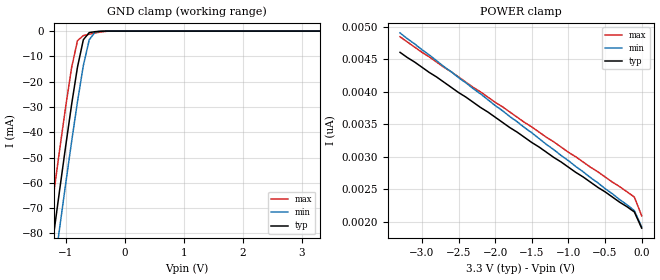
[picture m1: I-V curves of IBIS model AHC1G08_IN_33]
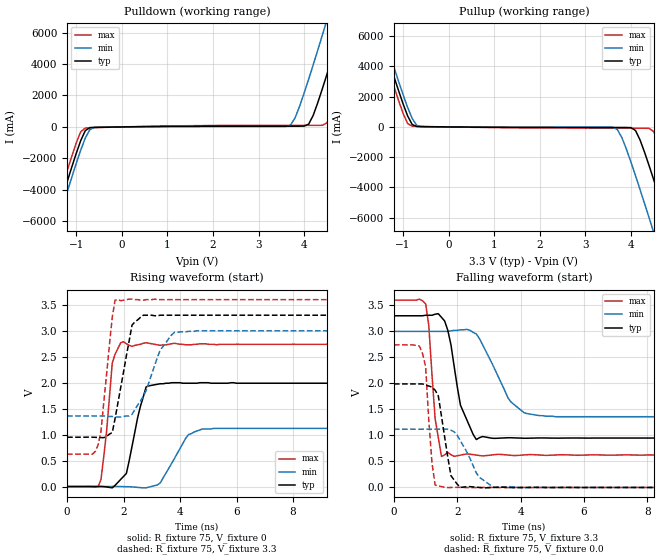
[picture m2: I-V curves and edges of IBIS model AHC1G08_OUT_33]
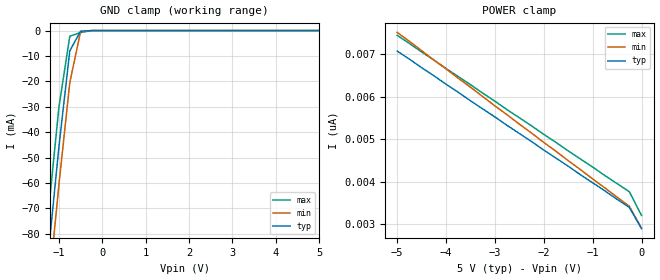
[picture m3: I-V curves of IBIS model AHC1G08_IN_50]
| TEXAS INSTRUMENTS INCORPORATED
| Standard Linear and Logic Group
| IBIS Model of SN74AHC1G08
| SINGLE 2-INPUT POSITIVE-AND GATE
| SOT 5-pin (DCK) and SOT 5-pin (DBV) Package
[IBIS Ver]   3.2
[Comment Char]  |_char
[File Name]   ahc1g08.ibs
[File Rev]   2.0 J_die
[Date]   May 24, 2000
[Source]   Data created from HSPICE simulations at TI-SLL.
[Notes]   The following is an IBIS list for the AHC1G08.
|   Please contact sllibis@ti.com with questions and
|   comments concerning SLL IBIS models.
[Disclaimer] Property of Texas Instruments Incorporated.  Unauthorized
                reproduction and/or distribution is strictly prohibited.
                This product is protected under copyright law.
                Created 2000, (C) Copyright 2000, Texas Instruments Inc.,
                All Rights Reserved.
                UNLESS THERE IS A SIGNED, WRITTEN AGREEMENT TO THE
                CONTRARY, TEXAS INSTRUMENTS () IS PROVIDING THE IBIS
                MODELS  AND WITHOUT ANY WARRANTY, EXPRESSED OR
                IMPLIED.  TI assumes no liability for:
                 1) the accuracy of the IBIS models provided to your
                    company;
                 2) the proper functioning of these IBIS Models in your
                    design or for any resulting applications; or
                 3) infringement of patents, copyrights or intellectual
                    property rights resulting from your use of these IBIS
                    models.
                TI provides IBIS Models as a service to our customers.
                You and your company shall not distribute, sell or give
                these models to anyone else without prior written
                permission from TI.
                TI reserves the right to make changes to our products or
                to discontinue any semiconductor product or service
                without notice, and advises our customers to obtain the
                latest version of relevant information to verify, before
                placing orders, that the information being relied on is
                current.
                Please be aware that your receipt and use of the IBIS
                information provided shall serve as acceptance of these
                terms and conditions.  If you do not accept these terms,
                you should return or destroy the IBIS models and any
                other accompanying information immediately.
|   Component AHC1G08_DCK
[Component]   AHC1G08_DCK
[Manufacturer]  Texas Instruments, Inc.
[Package]
|   typ   min   max
R_pkg   0.020   0.017   0.025
L_pkg   0.998nH   0.881nH   1.069nH
C_pkg   0.146pF   0.118pF   0.205pF
[Pin]   signal_name   model_name   R_pin   L_pin   C_pin
1   A   AHC1G08_IN   0.019   1.069nH   0.162pF
2   B   AHC1G08_IN   0.018   0.881nH   0.121pF
3   GND   GND   0.017   1.031nH   0.205pF
4   Y   AHC1G08_OUT   0.020   0.960nH   0.124pF
5   VCC   POWER   0.025   1.049nH   0.118pF
|   Component AHC1G08_DBV
[Component]   AHC1G08_DBV
[Manufacturer]  Texas Instruments, Inc.
[Package]
|   typ   min   max
R_pkg   0.025   0.021   0.029
L_pkg   1.529nH   1.312nH   1.906nH
C_pkg   0.156pF   0.110pF   0.240pF
[Pin]   signal_name   model_name   R_pin   L_pin   C_pin
1   A   AHC1G08_IN   0.021   1.511nH   0.144pF
2   B   AHC1G08_IN   0.023   1.312nH   0.138pF
3   GND   GND   0.029   1.906nH   0.240pF
4   Y   AHC1G08_OUT   0.026   1.541nH   0.150pF
5   VCC   POWER   0.025   1.374nH   0.110pF
[Model Selector]   AHC1G08_IN
AHC1G08_IN_33   3.3-V Vcc Input Model
AHC1G08_IN_50   5.0-V Vcc Input Model
[Model Selector]   AHC1G08_OUT
AHC1G08_OUT_33   3.3-V Vcc Output Model
AHC1G08_OUT_50   5.0-V Vcc Output Model
| Models and submodels in the file (4): AHC1G08_IN_33 (Input), AHC1G08_OUT_33 (Output), AHC1G08_IN_50 (Input), AHC1G08_OUT_50 (Output)
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|   Model AHC1G08_IN_33
[Model]   AHC1G08_IN_33
Model_type  Input
Polarity   Inverting
Vinl = 0.99
Vinh = 2.31
| variable   typ   min   max
C_comp   1.27pf   0.95pf   1.59pf
[Temperature Range]   25   85   -40
[Voltage Range]   3.3   3.0   3.6
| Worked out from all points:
|   GND clamp passes 1 mA (typ) near -0.61 V on its own axis
[GND Clamp]
|   Voltage   I(typ)   I(min)   I(max)
-3.3V     -460mA     -475mA     -445mA
-1.3V     -97.5mA    -113mA     -81.5mA
-1.2V     -79.9mA    -95mA      -63.9mA
-1.1V     -62.6mA    -77.6mA    -46.7mA
-1V       -45.6mA    -60.5mA    -30mA
-900mV    -29.2mA    -43.9mA    -14.6mA
-800mV    -14.3mA    -28mA      -3.81mA
-700mV    -3.42mA    -13.6mA    -1.78mA
-600mV    -581uA     -3.4mA     -1.25mA
-500mV    -233uA     -353uA     -759uA
-400mV    -58.1uA    -21.9uA    -324uA
3.3V      1.9nA      2.34nA     1.69nA
[POWER Clamp]
|   Voltage   I(typ)   I(min)   I(max)
-3.3V     4.61nA     4.91nA     4.85nA
-3V       4.38nA     4.65nA     4.61nA
-100mV    2.15nA     2.17nA     2.38nA
0V        1.9nA      1.92nA     2.09nA
|   Model AHC1G08_OUT_33
[Model]   AHC1G08_OUT_33
Model_type  Output
Polarity   Inverting
Vmeas = 1.65v
Cref = 15pf
| variable   typ   min   max
C_comp   3.12pf   2.34pf   3.90pf
[Temperature Range]   25   85   -40
[Voltage Range]   3.3   3.0   3.6
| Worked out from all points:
|   slope of the pulldown table from 0 to 0.495 V, typ, clamps not added: 26.1 ohm
|   slope of the pullup table from 0 to 0.495 V, typ, clamps not added: 40.3 ohm
|   rising waveform, R_fixture 75, V_fixture 0: 20-80 % time 464ps typ, 702ps min, 278ps max; typ from 0 V to 1.99 V
|   falling waveform, R_fixture 75, V_fixture 3.3: 20-80 % time 446ps typ, 783ps min, 217ps max; typ from 3.3 V to 0.95 V
|   rising waveform, R_fixture 75, V_fixture 3.3: 20-80 % time 470ps typ, 718ps min, 323ps max; typ from 0.95 V to 3.3 V
|   falling waveform, R_fixture 75, V_fixture 0.0: 20-80 % time 308ps typ, 566ps min, 179ps max; typ from 1.99 V to 0 V
[Pulldown]
|   Voltage   I(typ)   I(min)   I(max)
-3.3V     -24A       -24.6A     -23.4A
-1.6V     -7.31A     -7.95A     -6.63A
-1.5V     -6.34A     -6.99A     -5.66A
-1V       -1.69A     -2.33A     -1.02A
-800mV    -234mA     -703mA     -70.7mA
-600mV    -28.4mA    -27.3mA    -48.1mA
3.7V      47.1mA     113mA      100mA
4.1V      173mA      3.03A      101mA
4.4V      2.42A      5.83A      105mA
4.8V      6.17A      9.67A      2.68A
5.2V      10A        13.6A      6.5A
6.6V      23.8A      27.4A      20.3A
[Pullup]
|   Voltage   I(typ)   I(min)   I(max)
-3.3V     23.8A      24.4A      23.2A
-1.6V     7.13A      7.74A      6.5A
-1.5V     6.17A      6.78A      5.53A
-1V       1.53A      2.14A      903mA
-800mV    158mA      559mA      49mA
-600mV    19.5mA     16.8mA     33.4mA
3.7V      -35.9mA    -168mA     -78.9mA
4.1V      -236mA     -3.23A     -83.5mA
4.4V      -2.58A     -6.03A     -95.5mA
4.8V      -6.34A     -9.88A     -2.81A
5.2V      -10.2A     -13.8A     -6.63A
6.6V      -24A       -27.6A     -20.4A
[Ramp]
| variable   typ   min   max
dV/dt_r   1.20E+00/4.62E-10   6.92E-01/6.38E-10   1.65E+00/2.74E-10
dV/dt_f   1.44E+00/4.29E-10   1.01E+00/7.49E-10   1.87E+00/2.29E-10
R_load = 75
[Rising Waveform]
R_fixture = 75
V_fixture = 0
|   Time   V(typ)   V(min)   V(max)
0s        0V         0V         0V
1.2ns     950uV      243uV      135mV
1.4ns     -8.38mV    656uV      1.07V
1.6ns     -25.1mV    1.08mV     2.38V
2ns       195mV      -1.74mV    2.79V
2.8ns     1.92V      -24.1mV    2.77V
3.3ns     1.98V      70.8mV     2.72V
4.3ns     1.99V      1V         2.73V
4.8ns     2V         1.11V      2.75V
25ns      1.99V      1.12V      2.74V
[Falling Waveform]
R_fixture = 75
V_fixture = 3.3
V_fixture_min = 3.0
V_fixture_max = 3.6
|   Time   V(typ)   V(min)   V(max)
0s        3.3V       3V         3.6V
1ns       3.31V      3V         3.53V
1.1ns     3.31V      3V         3.11V
1.3ns     3.33V      3V         1.32V
1.5ns     3.27V      3V         597mV
2.1ns     1.58V      3.03V      622mV
2.6ns     921mV      2.95V      623mV
3.7ns     956mV      1.64V      618mV
4.6ns     952mV      1.38V      624mV
25ns      950mV      1.36V      624mV
[Rising Waveform]
R_fixture = 75
V_fixture = 3.3
V_fixture_min = 3.0
V_fixture_max = 3.6
|   Time   V(typ)   V(min)   V(max)
0s        950mV      1.36V      624mV
1.1ns     945mV      1.36V      805mV
1.2ns     943mV      1.36V      1.06V
1.6ns     1.04V      1.35V      3.26V
1.7ns     1.31V      1.34V      3.59V
2.3ns     3.11V      1.39V      3.61V
2.7ns     3.3V       1.74V      3.59V
3.3ns     3.3V       2.63V      3.6V
3.8ns     3.3V       2.97V      3.6V
25ns      3.3V       3V         3.6V
[Falling Waveform]
R_fixture = 75
V_fixture = 0.0
|   Time   V(typ)   V(min)   V(max)
0s        1.99V      1.12V      2.74V
900ps     1.99V      1.12V      2.58V
1ns       1.97V      1.12V      2.32V
1.2ns     1.93V      1.12V      477mV
1.3ns     1.87V      1.12V      47.1mV
1.6ns     972mV      1.12V      4.07mV
1.8ns     226mV      1.1V       -193uV
2ns       60.8mV     1V         3.06mV
3.2ns     1.71mV     3.36mV     294uV
25ns      0V         0V         0V
|   Model AHC1G08_IN_50
[Model]   AHC1G08_IN_50
Model_type  Input
Polarity   Inverting
Vinl = 1.5
Vinh = 3.5
| variable   typ   min   max
C_comp   1.27pf   0.95pf   1.59pf
[Temperature Range]   25   85   -40
[Voltage Range]   5.0   4.5   5.5
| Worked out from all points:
|   GND clamp passes 1 mA (typ) near -0.52 V on its own axis
[GND Clamp]
|   Voltage   I(typ)   I(min)   I(max)
-5V       -773mA     -786mA     -758mA
-1.5V     -133mA     -148mA     -117mA
-1.25V    -88.7mA    -104mA     -72.7mA
-1V       -45.6mA    -60.5mA    -30mA
-750mV    -7.99mA    -20.5mA    -2.23mA
-500mV    -233uA     -353uA     -759uA
-250mV    -2.63nA    -182nA     -26.9uA
5V        2.9nA      3.64nA     2.54nA
[POWER Clamp]
|   Voltage   I(typ)   I(min)   I(max)
-5V       7.08nA     7.52nA     7.45nA
-1.5V     4.37nA     4.5nA      4.73nA
-250mV    3.4nA      3.43nA     3.77nA
0V        2.9nA      2.91nA     3.21nA
